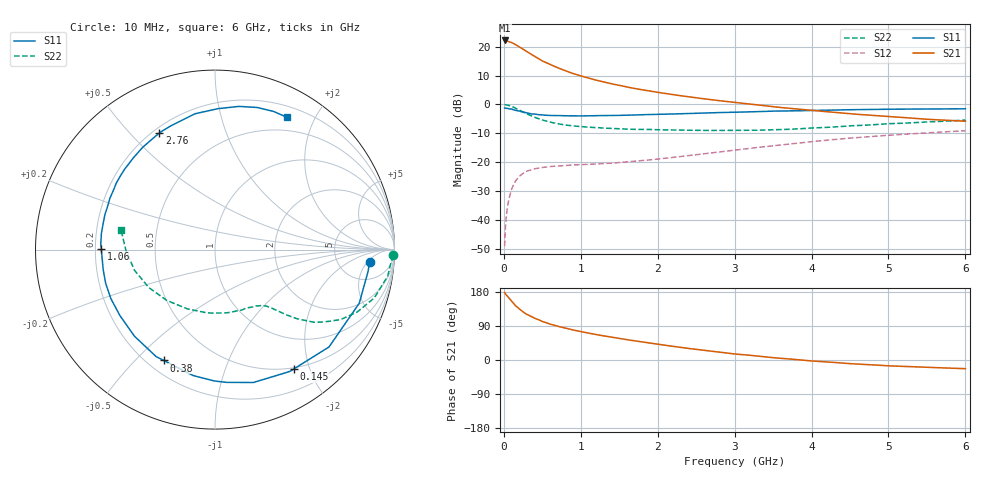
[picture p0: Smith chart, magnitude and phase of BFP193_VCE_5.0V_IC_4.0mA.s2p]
! Infineon Technologies  Discrete & RF Semiconductors
! BFP193
! VCE = 5.0 V,  IC =  4.0 mA
! Common Emitter S-Parameters:  Jan 2016
# GHz  S  MA  R  50
!  f  S11  S21  S12  S22
! GHz  MAG  ANG  MAG  ANG  MAG  ANG  MAG  ANG
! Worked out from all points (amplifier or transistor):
!   210 points, 10 MHz to 6 GHz, reference 50 ohm
!   highest |S21| = 22.2 dB at 10 MHz (marker M1)
!   |S21| within 3 dB of that: start of sweep to 248 MHz
!   unconditionally stable (mu >= 1): 1.368 GHz to 3.466 GHz
!   at 185 MHz: K = 0.18, MSG = 22.8 dB, |S12| = -25.4 dB
!   at 1.52 GHz: K = 1.06, MAG = 11.8 dB, |S12| = -20.1 dB
!   at 6 GHz: K = 0.91, MSG = 1.6 dB, |S12| = -9.1 dB
!   S11 on the Smith chart (normalised r, x): 10 MHz: 11, -6; 145 MHz: 0.48, -1.76; 380 MHz: 0.26, -0.61; 1.06 GHz: 0.22, +0.00; 2.76 GHz: 0.23, +0.61; 6 GHz: 0.33, +1.64
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0.01  0.8651 -4.4  12.82 178.4  0.0035 90.9  0.9909 -1.8
0.02  0.8611 -8.3  12.62 174.5  0.0072 85.2  0.9852 -3.5
0.05  0.8575 -20.4  12.42 167.1  0.0177 79.3  0.9735 -8.8
0.1  0.8353 -40.5  11.86 155.4  0.0338 69.2  0.9273 -16.9
0.145  0.7968 -56.6  11 145.0  0.0453 61.1  0.8707 -23.0
0.2  0.7707 -73.9  10 135.0  0.0567 54.0  0.8014 -29.1
0.24  0.7424 -85.1  9.217 128.5  0.0625 49.1  0.75 -32.2
0.3  0.7121 -99.9  8.205 120.2  0.0698 43.6  0.6838 -36.3
0.38  0.6806 -114.9  7.057 112.5  0.0753 38.5  0.6132 -39.3
0.4  0.6804 -118.8  6.794 110.2  0.0768 37.3  0.5959 -40.2
0.5  0.6589 -132.9  5.667 101.7  0.0809 33.2  0.537 -42.5
0.6  0.6449 -145.2  4.915 94.8  0.0839 30.9  0.4934 -44.1
0.8  0.6375 -162.8  3.823 83.9  0.0874 28.4  0.4386 -46.8
1.02  0.6317 -178.0  3.061 74.2  0.0906 28.6  0.4109 -49.5
1.06  0.6338 179.5  2.959 72.6  0.0913 28.8  0.407 -50.1
1.4  0.6437 162.4  2.27 60.3  0.0959 31.3  0.3846 -56.0
2.02  0.6737 138.4  1.604 41.1  0.1139 37.7  0.3633 -69.4
2.76  0.7192 115.6  1.178 21.8  0.1476 41.4  0.3539 -90.5
3.1  0.737 107.0  1.044 14.2  0.1677 41.0  0.3544 -101.7
4.1  0.7888 87.1  0.768 -3.8  0.2334 35.1  0.3942 -137.0
5.1  0.8271 72.2  0.605 -16.1  0.2977 24.2  0.4674 -168.5
6  0.8392 61.4  0.511 -22.9  0.35 13.2  0.5352 168.1
